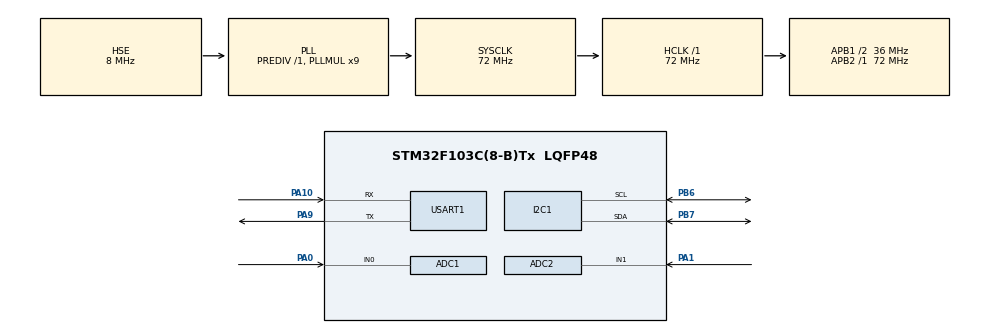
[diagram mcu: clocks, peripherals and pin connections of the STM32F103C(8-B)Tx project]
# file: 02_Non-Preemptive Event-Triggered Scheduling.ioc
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ADC1.Channel-0\#ChannelRegularConversion=ADC_CHANNEL_0
ADC1.NbrOfConversionFlag=1
ADC1.Rank-0\#ChannelRegularConversion=1
ADC1.SamplingTime-0\#ChannelRegularConversion=ADC_SAMPLETIME_1CYCLE_5
ADC1.master=1
ADC2.Channel-0\#ChannelRegularConversion=ADC_CHANNEL_1
ADC2.NbrOfConversionFlag=1
ADC2.Rank-0\#ChannelRegularConversion=1
ADC2.SamplingTime-0\#ChannelRegularConversion=ADC_SAMPLETIME_1CYCLE_5
Mcu.Family=STM32F1
Mcu.Name=STM32F103C(8-B)Tx
Mcu.Package=LQFP48
NVIC.PriorityGroup=NVIC_PRIORITYGROUP_4
NVIC.TIM1_UP_IRQn=true\:0\:0\:false\:false\:true\:true\:true\:true
NVIC.USART1_IRQn=true\:0\:0\:false\:false\:true\:true\:true\:true
PA0-WKUP.Signal=ADCx_IN0
PA1.Signal=ADCx_IN1
PA10.Mode=Asynchronous
PA10.Signal=USART1_RX
PA13.Mode=Serial_Wire
PA13.Signal=SYS_JTMS-SWDIO
PA14.Mode=Serial_Wire
PA14.Signal=SYS_JTCK-SWCLK
PA9.Mode=Asynchronous
PA9.Signal=USART1_TX
PB6.Mode=I2C
PB6.Signal=I2C1_SCL
PB7.Mode=I2C
PB7.Signal=I2C1_SDA
PD0-OSC_IN.Mode=HSE-External-Oscillator
PD0-OSC_IN.Signal=RCC_OSC_IN
PD1-OSC_OUT.Mode=HSE-External-Oscillator
PD1-OSC_OUT.Signal=RCC_OSC_OUT
ProjectManager.HeapSize=0x200
ProjectManager.StackSize=0x400
ProjectManager.TargetToolchain=STM32CubeIDE
RCC.ADCPresc=RCC_ADCPCLK2_DIV6
RCC.AHBFreq_Value=72000000
RCC.APB1CLKDivider=RCC_HCLK_DIV2
RCC.APB1Freq_Value=36000000
RCC.APB1TimFreq_Value=72000000
RCC.APB2Freq_Value=72000000
RCC.APB2TimFreq_Value=72000000
RCC.HCLKFreq_Value=72000000
RCC.PLLMUL=RCC_PLL_MUL9
RCC.PLLSourceVirtual=RCC_PLLSOURCE_HSE
RCC.SYSCLKFreq_VALUE=72000000
RCC.SYSCLKSource=RCC_SYSCLKSOURCE_PLLCLK
RCC.USBFreq_Value=72000000
SH.ADCx_IN0.0=ADC1_IN0,IN0
SH.ADCx_IN1.0=ADC2_IN1,IN1
TIM1.Period=9999
TIM1.Prescaler=7199
USART1.VirtualMode=VM_ASYNC
VP_TIM1_VS_ClockSourceINT.Mode=Internal
board=custom

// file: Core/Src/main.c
/* USER CODE BEGIN Header */
/**
  ******************************************************************************
  * @file           : main.c
  * @brief          : Main program body
  ******************************************************************************
  * @attention
  *
  * Copyright (c) 2026 STMicroelectronics.
  * All rights reserved.
  *
  * This software is licensed under terms that can be found in the LICENSE file
  * in the root directory of this software component.
  * If no LICENSE file comes with this software, it is provided AS-IS.
  *
  ******************************************************************************
  */
/* USER CODE END Header */
#include "main.h"

/* USER CODE BEGIN Includes */
#include "stdio.h"
#include "math.h"
#include "CLCD_I2C.h"

#define QSIZE 16
/* USER CODE END Includes */

/* USER CODE BEGIN PTD */
float humidity;
float temperature;

typedef enum {
    EV_NONE = 0,
    EV_HUM,
    EV_TEMP,
    EV_UART,
    EV_LCD
} EventType;

typedef struct {
    EventType buf[QSIZE];
    uint8_t head, tail;
} Queue;

Queue q = {0};

void push(EventType e)
{
    uint8_t n = (q.head + 1) % QSIZE;
    if(n != q.tail){
        q.buf[q.head] = e;
        q.head = n;
    }
}

EventType pop(void)
{
    if(q.head == q.tail) return EV_NONE;
    EventType e = q.buf[q.tail];
    q.tail=(q.tail + 1) % QSIZE;
    return e;
}

typedef struct{
    uint32_t period;
    uint32_t next;
    EventType ev;
} Task;

volatile uint32_t tick=0;

Task tasks[]={
    {5, 0, EV_HUM},
    {5, 0, EV_TEMP},
    {5, 0, EV_UART},
    {1, 0, EV_LCD}
};
/* USER CODE END PTD */

/* USER CODE BEGIN PD */
#define RX_BUF 32
uint8_t rx_char;
char cmd_buf[RX_BUF];
uint8_t cmd_idx = 0;
volatile uint8_t cmd_flag = 0;
/* USER CODE END PD */

ADC_HandleTypeDef hadc1;
ADC_HandleTypeDef hadc2;

I2C_HandleTypeDef hi2c1;

TIM_HandleTypeDef htim1;

UART_HandleTypeDef huart1;

/* USER CODE BEGIN PV */
CLCD_I2C_Name LCD1;
/* USER CODE END PV */

void SystemClock_Config(void);
static void MX_GPIO_Init(void);
static void MX_ADC1_Init(void);
static void MX_I2C1_Init(void);
static void MX_USART1_UART_Init(void);
static void MX_ADC2_Init(void);
static void MX_TIM1_Init(void);

/* USER CODE BEGIN 0 */
int __io_putchar(int ch)
{
    HAL_UART_Transmit(&huart1, (uint8_t *)&ch, 1, 2);
    return ch;
}

void HAL_TIM_PeriodElapsedCallback(TIM_HandleTypeDef *htim)
{
    if(htim->Instance==TIM1)   // 1000ms tick
    {
        tick++;

        for(int i = 0; i < 4; i++)
        {
            if(tick >= tasks[i].next){
                push(tasks[i].ev);
                tasks[i].next += tasks[i].period;
            }
        }
    }
}

void Read_Humidity() //T1 = 5 D1 = 4 C1 = 0.01
{
	HAL_ADC_Start(&hadc1);
	HAL_ADC_PollForConversion(&hadc1, 1);
	uint16_t adc_in0 = HAL_ADC_GetValue(&hadc1);
	HAL_ADC_Stop(&hadc1);

	float Vout = (adc_in0 * 3.3f) / 4095.0f;
	humidity = (Vout - 0.4f) / 0.031f;
}

void Read_Temperature() //T2 = 5 D2 = 4 D2 = 0.01
{
	HAL_ADC_Start(&hadc2);
	HAL_ADC_PollForConversion(&hadc2, 1);
	uint16_t adc_in1 = HAL_ADC_GetValue(&hadc2);
	HAL_ADC_Stop(&hadc2);

	float Vout = (adc_in1 * 3.3f) / 4095.0f;
	        float R_pulldown = 10000.0f; // 10k Ohm
	        float R_ntc = R_pulldown * ((5.3f / Vout) - 1.0f);
	        float B = 3435.0f;
	        float R0 = 10000.0f;
	        float T0 = 298.15f;
	        float inv_T = (1.0f / T0) + (1.0f / B) * log(R_ntc / R0);
	        temperature = (1.0f / inv_T) - 273.15f - 12.0f; // Chuyển từ Kelvin sang độ C

}

void Send_Uart() //T3 = 5 D3 = 4 C3 = 0.1
{
	printf("Humidity: %.1f %%\r\n", humidity);
	printf("Temperature: %.1f C\r\n", temperature);
}

void Display_LCD() //T4 = 1 D4 = 0.5 C4 = 0.3
{
	CLCD_I2C_SetCursor(&LCD1, 0, 0);
	CLCD_I2C_WriteString(&LCD1, "Hum: ");
	CLCD_I2C_WriteNumber(&LCD1, humidity, 1);
	CLCD_I2C_WriteString(&LCD1, " %");

	CLCD_I2C_SetCursor(&LCD1, 0, 1);
	CLCD_I2C_WriteString(&LCD1, "Temp: ");
	CLCD_I2C_WriteNumber(&LCD1, temperature, 1);
	CLCD_I2C_WriteString(&LCD1, " C");
}

void HAL_UART_RxCpltCallback(UART_HandleTypeDef *huart)
{
    if(huart->Instance == USART1)
    {
        if(rx_char == '\r' || rx_char == '\n')
        {
            cmd_buf[cmd_idx] = 0;
            cmd_flag = 1;
            cmd_idx = 0;
        }
        else if(cmd_idx < RX_BUF-1)
        {
            cmd_buf[cmd_idx++] = rx_char;
        }

        HAL_UART_Receive_IT(&huart1, &rx_char, 1);
    }
}

void Parse_Command()
{
    int id, per;

    // format: T0=10
    if(sscanf(cmd_buf, "T%d=%d", &id, &per) == 2)
    {
        if(id >= 0 && id < 4 && per > 0)
        {
            __disable_irq();
            tasks[id].period = per;
            tasks[id].next = tick + per;
            __enable_irq();
        }
    }
}

void Handle(EventType e)
{
    switch(e)
    {
        case EV_HUM:  Read_Humidity(); break;
        case EV_TEMP: Read_Temperature(); break;
        case EV_UART:Send_Uart(); break;
        case EV_LCD:  Display_LCD(); break;
        default: break;
    }
}
/* USER CODE END 0 */

int main(void)
{

  /* MCU Configuration--------------------------------------------------------*/

  /* Reset of all peripherals, Initializes the Flash interface and the Systick. */
  HAL_Init();

  /* Configure the system clock */
  SystemClock_Config();

  /* Initialize all configured peripherals */
  MX_GPIO_Init();
  MX_ADC1_Init();
  MX_I2C1_Init();
  MX_USART1_UART_Init();
  MX_ADC2_Init();
  MX_TIM1_Init();
  /* USER CODE BEGIN 2 */
  HAL_TIM_Base_Start_IT(&htim1);
  CLCD_I2C_Init(&LCD1, &hi2c1, 0x4e, 16, 2);
  HAL_UART_Receive_IT(&huart1, &rx_char, 1);

  /* USER CODE END 2 */

  /* Infinite loop */
  /* USER CODE BEGIN WHILE */
  while (1)
  {
	  if(cmd_flag)
	      {
	          cmd_flag = 0;
	          Parse_Command();
	      }
	  __disable_irq();
	  EventType e=pop();
	  __enable_irq();
	  if(e != EV_NONE)
		  Handle(e);
    /* USER CODE END WHILE */

  }
}

void SystemClock_Config(void)
{
  RCC_OscInitTypeDef RCC_OscInitStruct = {0};
  RCC_ClkInitTypeDef RCC_ClkInitStruct = {0};
  RCC_PeriphCLKInitTypeDef PeriphClkInit = {0};

  /** Initializes the RCC Oscillators according to the specified parameters
  * in the RCC_OscInitTypeDef structure.
  */
  RCC_OscInitStruct.OscillatorType = RCC_OSCILLATORTYPE_HSE;
  RCC_OscInitStruct.HSEState = RCC_HSE_ON;
  RCC_OscInitStruct.HSEPredivValue = RCC_HSE_PREDIV_DIV1;
  RCC_OscInitStruct.HSIState = RCC_HSI_ON;
  RCC_OscInitStruct.PLL.PLLState = RCC_PLL_ON;
  RCC_OscInitStruct.PLL.PLLSource = RCC_PLLSOURCE_HSE;
  RCC_OscInitStruct.PLL.PLLMUL = RCC_PLL_MUL9;
  if (HAL_RCC_OscConfig(&RCC_OscInitStruct) != HAL_OK)
  {
    Error_Handler();
  }

  /** Initializes the CPU, AHB and APB buses clocks
  */
  RCC_ClkInitStruct.ClockType = RCC_CLOCKTYPE_HCLK|RCC_CLOCKTYPE_SYSCLK
                              |RCC_CLOCKTYPE_PCLK1|RCC_CLOCKTYPE_PCLK2;
  RCC_ClkInitStruct.SYSCLKSource = RCC_SYSCLKSOURCE_PLLCLK;
  RCC_ClkInitStruct.AHBCLKDivider = RCC_SYSCLK_DIV1;
  RCC_ClkInitStruct.APB1CLKDivider = RCC_HCLK_DIV2;
  RCC_ClkInitStruct.APB2CLKDivider = RCC_HCLK_DIV1;

  if (HAL_RCC_ClockConfig(&RCC_ClkInitStruct, FLASH_LATENCY_2) != HAL_OK)
  {
    Error_Handler();
  }
  PeriphClkInit.PeriphClockSelection = RCC_PERIPHCLK_ADC;
  PeriphClkInit.AdcClockSelection = RCC_ADCPCLK2_DIV6;
  if (HAL_RCCEx_PeriphCLKConfig(&PeriphClkInit) != HAL_OK)
  {
    Error_Handler();
  }
}

static void MX_ADC1_Init(void)
{

  ADC_ChannelConfTypeDef sConfig = {0};

  /** Common config
  */
  hadc1.Instance = ADC1;
  hadc1.Init.ScanConvMode = ADC_SCAN_DISABLE;
  hadc1.Init.ContinuousConvMode = DISABLE;
  hadc1.Init.DiscontinuousConvMode = DISABLE;
  hadc1.Init.ExternalTrigConv = ADC_SOFTWARE_START;
  hadc1.Init.DataAlign = ADC_DATAALIGN_RIGHT;
  hadc1.Init.NbrOfConversion = 1;
  if (HAL_ADC_Init(&hadc1) != HAL_OK)
  {
    Error_Handler();
  }

  /** Configure Regular Channel
  */
  sConfig.Channel = ADC_CHANNEL_0;
  sConfig.Rank = ADC_REGULAR_RANK_1;
  sConfig.SamplingTime = ADC_SAMPLETIME_1CYCLE_5;
  if (HAL_ADC_ConfigChannel(&hadc1, &sConfig) != HAL_OK)
  {
    Error_Handler();
  }

}

static void MX_ADC2_Init(void)
{

  ADC_ChannelConfTypeDef sConfig = {0};

  /** Common config
  */
  hadc2.Instance = ADC2;
  hadc2.Init.ScanConvMode = ADC_SCAN_DISABLE;
  hadc2.Init.ContinuousConvMode = DISABLE;
  hadc2.Init.DiscontinuousConvMode = DISABLE;
  hadc2.Init.ExternalTrigConv = ADC_SOFTWARE_START;
  hadc2.Init.DataAlign = ADC_DATAALIGN_RIGHT;
  hadc2.Init.NbrOfConversion = 1;
  if (HAL_ADC_Init(&hadc2) != HAL_OK)
  {
    Error_Handler();
  }

  /** Configure Regular Channel
  */
  sConfig.Channel = ADC_CHANNEL_1;
  sConfig.Rank = ADC_REGULAR_RANK_1;
  sConfig.SamplingTime = ADC_SAMPLETIME_1CYCLE_5;
  if (HAL_ADC_ConfigChannel(&hadc2, &sConfig) != HAL_OK)
  {
    Error_Handler();
  }

}

static void MX_I2C1_Init(void)
{

  hi2c1.Instance = I2C1;
  hi2c1.Init.ClockSpeed = 100000;
  hi2c1.Init.DutyCycle = I2C_DUTYCYCLE_2;
  hi2c1.Init.OwnAddress1 = 0;
  hi2c1.Init.AddressingMode = I2C_ADDRESSINGMODE_7BIT;
  hi2c1.Init.DualAddressMode = I2C_DUALADDRESS_DISABLE;
  hi2c1.Init.OwnAddress2 = 0;
  hi2c1.Init.GeneralCallMode = I2C_GENERALCALL_DISABLE;
  hi2c1.Init.NoStretchMode = I2C_NOSTRETCH_DISABLE;
  if (HAL_I2C_Init(&hi2c1) != HAL_OK)
  {
    Error_Handler();
  }

}

static void MX_TIM1_Init(void)
{

  TIM_ClockConfigTypeDef sClockSourceConfig = {0};
  TIM_MasterConfigTypeDef sMasterConfig = {0};

  htim1.Instance = TIM1;
  htim1.Init.Prescaler = 7199;
  htim1.Init.CounterMode = TIM_COUNTERMODE_UP;
  htim1.Init.Period = 9999;
  htim1.Init.ClockDivision = TIM_CLOCKDIVISION_DIV1;
  htim1.Init.RepetitionCounter = 0;
  htim1.Init.AutoReloadPreload = TIM_AUTORELOAD_PRELOAD_DISABLE;
  if (HAL_TIM_Base_Init(&htim1) != HAL_OK)
  {
    Error_Handler();
  }
  sClockSourceConfig.ClockSource = TIM_CLOCKSOURCE_INTERNAL;
  if (HAL_TIM_ConfigClockSource(&htim1, &sClockSourceConfig) != HAL_OK)
  {
    Error_Handler();
  }
  sMasterConfig.MasterOutputTrigger = TIM_TRGO_RESET;
  sMasterConfig.MasterSlaveMode = TIM_MASTERSLAVEMODE_DISABLE;
  if (HAL_TIMEx_MasterConfigSynchronization(&htim1, &sMasterConfig) != HAL_OK)
  {
    Error_Handler();
  }

}

static void MX_USART1_UART_Init(void)
{

  huart1.Instance = USART1;
  huart1.Init.BaudRate = 115200;
  huart1.Init.WordLength = UART_WORDLENGTH_8B;
  huart1.Init.StopBits = UART_STOPBITS_1;
  huart1.Init.Parity = UART_PARITY_NONE;
  huart1.Init.Mode = UART_MODE_TX_RX;
  huart1.Init.HwFlowCtl = UART_HWCONTROL_NONE;
  huart1.Init.OverSampling = UART_OVERSAMPLING_16;
  if (HAL_UART_Init(&huart1) != HAL_OK)
  {
    Error_Handler();
  }

}

static void MX_GPIO_Init(void)
{

  /* GPIO Ports Clock Enable */
  __HAL_RCC_GPIOD_CLK_ENABLE();
  __HAL_RCC_GPIOA_CLK_ENABLE();
  __HAL_RCC_GPIOB_CLK_ENABLE();

}

void Error_Handler(void)
{
  __disable_irq();
  while (1)
  {
  }
}
